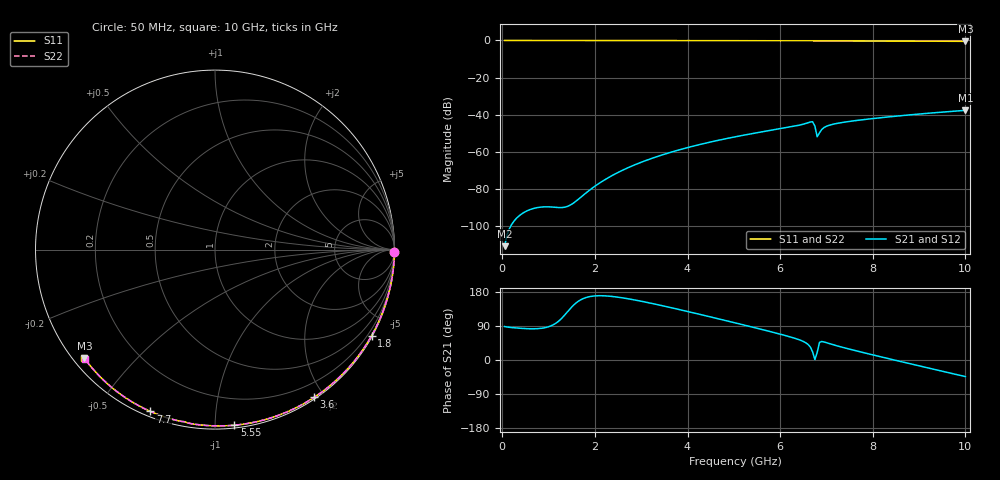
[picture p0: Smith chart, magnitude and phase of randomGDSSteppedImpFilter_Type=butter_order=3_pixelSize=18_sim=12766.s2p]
! freq	dB(S11)	phase(S11)	dB(S12)	phase(S12)
!  dB(S21)	phase(S21)	dB(S22)	phase(S22)
!S-par simulation data
#  GHz  S  DB  R 50
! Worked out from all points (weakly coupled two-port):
!   200 points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, 50 MHz to 10 GHz, reference 50 ohm
!   highest |S21| = -37.74 dB at 10 GHz (marker M1); lowest = -111.1 dB at 50 MHz (marker M2)
!   lowest |S11| = -0.5 dB at 10 GHz (marker M3), VSWR 36.61, Z = 1.54 - j18.1 ohm
!   |S11| at or under -10 dB: nowhere
!   |S22| runs from -0.5 to 0.0 dB; largest |S21 - S12| = 0
!   S11 on the Smith chart (normalised r, x): 50 MHz: open; 1.8 GHz: 0.03, -3.90; 3.6 GHz: 0.02, -1.88; 5.55 GHz: 0.02, -1.12; 7.7 GHz: 0.02, -0.68; 10 GHz: 0.03, -0.36
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0.05  -0.00 -0.8  -111.06 88.3  -111.06 88.3  -0.00 -0.8
0.9  -0.02 -14.5  -89.83 84.7  -89.83 84.7  -0.02 -14.5
1.75  -0.04 -28.0  -83.51 162.2  -83.51 162.2  -0.04 -27.9
1.8  -0.04 -28.7  -82.48 164.5  -82.48 164.5  -0.04 -28.7
1.95  -0.04 -31.1  -79.59 168.5  -79.59 168.5  -0.04 -31.1
2.25  -0.05 -35.7  -74.64 169.0  -74.64 169.0  -0.05 -35.7
2.55  -0.05 -40.4  -70.62 164.9  -70.62 164.9  -0.05 -40.3
3.4  -0.07 -53.2  -62.21 144.8  -62.21 144.8  -0.07 -53.1
3.6  -0.08 -56.1  -60.64 139.4  -60.64 139.4  -0.08 -56.1
4.3  -0.09 -66.3  -55.96 119.5  -55.96 119.5  -0.09 -66.3
5.05  -0.12 -76.9  -51.91 97.3  -51.91 97.3  -0.12 -76.8
5.55  -0.14 -83.7  -49.59 82.3  -49.59 82.3  -0.14 -83.7
6.35  -0.17 -94.5  -46.05 55.9  -46.05 55.9  -0.17 -94.4
6.7  -0.20 -99.2  -43.87 21.8  -43.87 21.8  -0.20 -99.1
6.75  -0.23 -99.8  -46.23 1.0  -46.23 1.0  -0.23 -99.7
6.8  -0.23 -100.2  -52.00 20.1  -52.00 20.1  -0.23 -100.2
6.9  -0.21 -101.5  -47.99 48.8  -47.99 48.8  -0.21 -101.5
7  -0.22 -102.8  -46.33 45.7  -46.33 45.7  -0.22 -102.8
7.25  -0.23 -106.0  -44.67 36.6  -44.67 36.6  -0.23 -106.0
7.7  -0.26 -111.8  -43.04 22.5  -43.04 22.5  -0.26 -111.7
8.35  -0.31 -119.9  -41.24 3.3  -41.24 3.3  -0.31 -119.8
10  -0.47 -140.2  -37.74 -43.8  -37.74 -43.8  -0.47 -140.1
